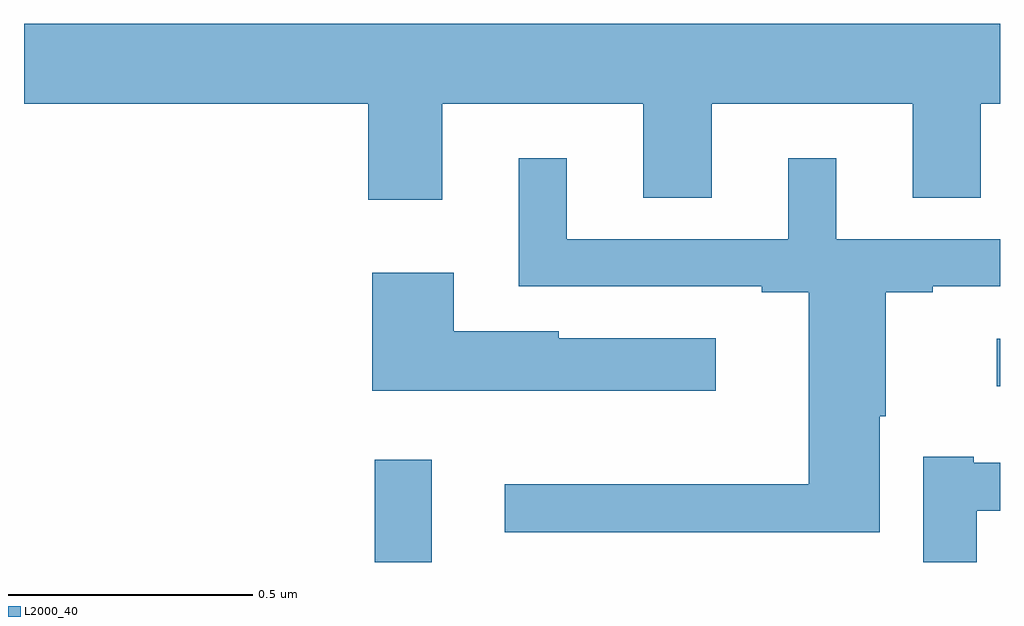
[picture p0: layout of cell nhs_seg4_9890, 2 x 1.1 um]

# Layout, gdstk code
import gdstk
lib = gdstk.Library(unit=1e-6, precision=1e-09)
def R(c, l, rs):  # rectangles x0, y0, x1, y1
    for r in rs: c.add(gdstk.rectangle(r[:2], r[2:], *l))
def P(c, l, *ps):  # polygons
    for p in ps: c.add(gdstk.Polygon(p, *l))
L2000_40 = (2000, 40)

nhs_seg4_9890 = lib.new_cell('nhs_seg4_9890')
R(nhs_seg4_9890, L2000_40, [(233.719,775.9,233.836,776.11), (234.993,776.261,235,776.358)])
P(nhs_seg4_9890, L2000_40, [(233.857,776.84),(234.269,776.84),(234.269,776.647),(234.409,776.647),(234.409,776.84),(234.821,776.84),(234.821,776.647),(234.961,776.647),(234.961,776.84),(235,776.84),(235,777.004),(233,777.004),(233,776.84),(233.705,776.84),(233.705,776.643),(233.857,776.643)],
  [(234.754,776.199),(234.766,776.199),(234.766,776.454),(234.862,776.454),(234.862,776.466),(235,776.466),(235,776.562),(234.664,776.562),(234.664,776.728),(234.566,776.728),(234.566,776.562),(234.112,776.562),(234.112,776.728),(234.014,776.728),(234.014,776.466),(234.512,776.466),(234.512,776.454),(234.608,776.454),(234.608,776.06),(233.985,776.06),(233.985,775.962),(234.754,775.962)],
  [(234.418,776.359),(234.096,776.359),(234.096,776.374),(233.881,776.374),(233.881,776.494),(233.714,776.494),(233.714,776.252),(234.418,776.252)],
  [(234.952,776.006),(235,776.006),(235,776.104),(234.946,776.104),(234.946,776.116),(234.843,776.116),(234.843,775.9),(234.952,775.9)])

lib.write_gds('nhs_seg4_9890.gds')
